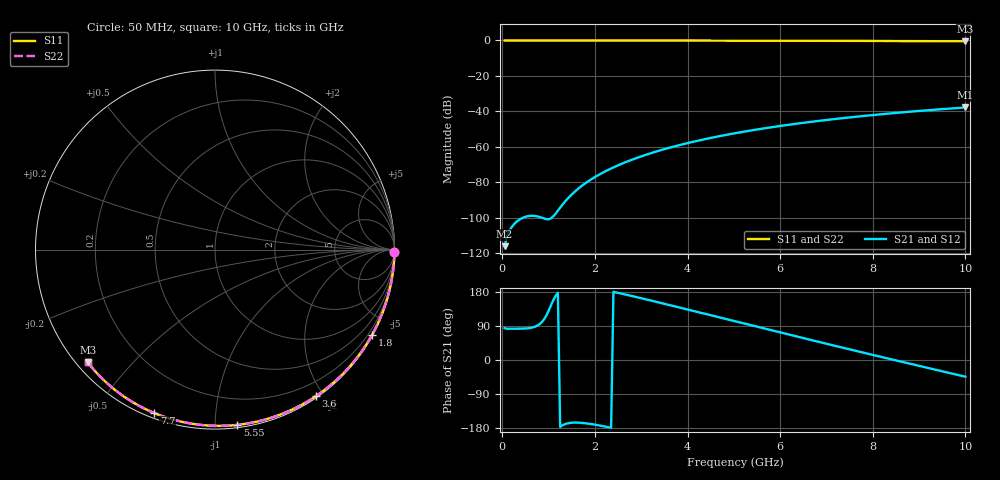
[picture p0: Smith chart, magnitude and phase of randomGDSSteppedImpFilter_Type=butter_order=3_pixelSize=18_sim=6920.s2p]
! freq	dB(S11)	phase(S11)	dB(S12)	phase(S12)
!  dB(S21)	phase(S21)	dB(S22)	phase(S22)
!S-par simulation data
#  GHz  S  DB  R 50
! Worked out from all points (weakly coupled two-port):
!   200 points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, 50 MHz to 10 GHz, reference 50 ohm
!   highest |S21| = -37.84 dB at 10 GHz (marker M1); lowest = -116.1 dB at 50 MHz (marker M2)
!   lowest |S11| = -0.5 dB at 10 GHz (marker M3), VSWR 37.05, Z = 1.54 - j19 ohm
!   |S11| at or under -10 dB: nowhere
!   |S22| runs from -0.5 to 0.0 dB; largest |S21 - S12| = 0
!   S11 on the Smith chart (normalised r, x): 50 MHz: open; 1.8 GHz: 0.03, -3.95; 3.6 GHz: 0.02, -1.90; 5.55 GHz: 0.02, -1.14; 7.7 GHz: 0.02, -0.69; 10 GHz: 0.03, -0.38
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0.05  -0.00 -0.8  -116.15 84.0  -116.15 84.0  -0.00 -0.8
0.45  -0.01 -7.2  -100.04 82.9  -100.04 82.9  -0.01 -7.2
0.9  -0.02 -14.3  -100.53 107.1  -100.53 107.1  -0.02 -14.3
1.75  -0.04 -27.6  -81.44 -166.3  -81.44 -166.3  -0.04 -27.6
1.8  -0.04 -28.4  -80.50 -167.0  -80.50 -167.0  -0.04 -28.4
1.85  -0.04 -29.2  -79.60 -167.8  -79.60 -167.8  -0.04 -29.2
2.05  -0.04 -32.2  -76.36 -171.7  -76.36 -171.7  -0.04 -32.2
2.25  -0.05 -35.3  -73.55 -176.3  -73.55 -176.3  -0.05 -35.3
2.55  -0.05 -39.9  -69.93 175.8  -69.93 175.8  -0.05 -39.9
2.95  -0.06 -45.9  -65.90 164.5  -65.90 164.5  -0.06 -45.9
3.4  -0.07 -52.5  -62.12 151.3  -62.12 151.3  -0.07 -52.5
3.6  -0.07 -55.5  -60.64 145.3  -60.64 145.3  -0.07 -55.5
3.9  -0.08 -59.8  -58.59 136.3  -58.59 136.3  -0.08 -59.8
4.3  -0.09 -65.5  -56.15 124.2  -56.15 124.2  -0.09 -65.5
5.05  -0.12 -75.9  -52.26 101.4  -52.26 101.4  -0.12 -75.9
5.55  -0.14 -82.7  -50.06 86.2  -50.06 86.2  -0.14 -82.7
6.1  -0.16 -90.0  -47.91 69.7  -47.91 69.7  -0.16 -90.0
6.7  -0.19 -97.8  -45.84 51.7  -45.84 51.7  -0.19 -97.8
7.7  -0.25 -110.4  -42.90 22.2  -42.90 22.2  -0.25 -110.4
8.35  -0.30 -118.4  -41.26 3.2  -41.26 3.2  -0.30 -118.4
9.2  -0.38 -128.8  -39.38 -21.2  -39.38 -21.2  -0.38 -128.8
10  -0.47 -138.4  -37.84 -44.1  -37.84 -44.1  -0.47 -138.4
